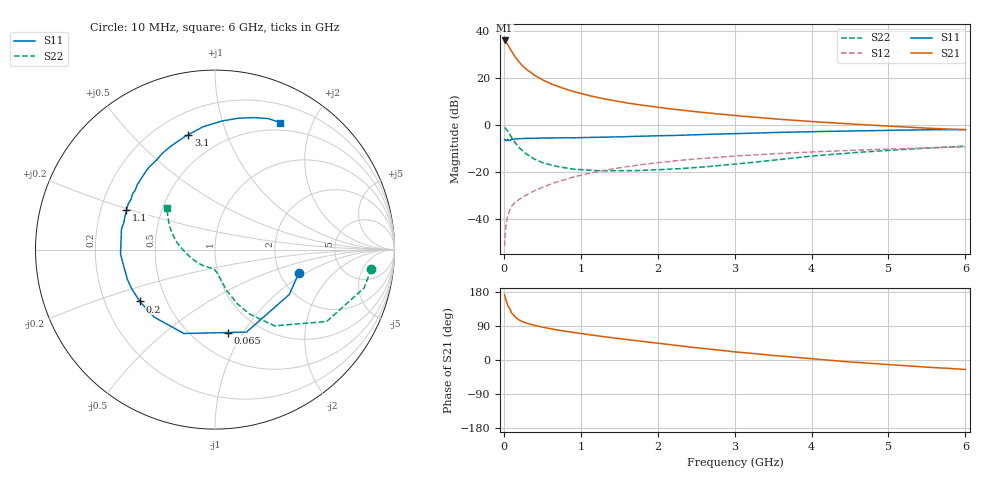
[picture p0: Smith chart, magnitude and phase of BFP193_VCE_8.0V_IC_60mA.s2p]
! Infineon Technologies  Discrete & RF Semiconductors
! BFP193
! VCE = 8.0 V,  IC =  60 mA
! Common Emitter S-Parameters:  Jan 2016
# GHz  S  MA  R  50
!  f  S11  S21  S12  S22
! GHz  MAG  ANG  MAG  ANG  MAG  ANG  MAG  ANG
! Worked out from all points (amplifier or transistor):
!   210 points, 10 MHz to 6 GHz, reference 50 ohm
!   highest |S21| = 36.0 dB at 10 MHz (marker M1)
!   |S21| within 3 dB of that: start of sweep to 71.61 MHz
!   unconditionally stable (mu >= 1): 557.9 MHz to 4.172 GHz
!   at 185 MHz: K = 0.68, MSG = 29.8 dB, |S12| = -32.1 dB
!   at 1.52 GHz: K = 1.07, MAG = 12.4 dB, |S12| = -18.2 dB
!   at 6 GHz: K = 0.94, MSG = 3.6 dB, |S12| = -9.3 dB
!   S11 on the Smith chart (normalised r, x): 10 MHz: 2.53, -0.88; 65 MHz: 0.73, -0.86; 200 MHz: 0.35, -0.28; 1.1 GHz: 0.31, +0.19; 3.1 GHz: 0.33, +0.74; 6 GHz: 0.41, +1.56
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0.01  0.4848 -15.9  63.06 171.8  0.0026 76.6  0.8776 -7.1
0.02  0.4837 -31.1  60.28 163.2  0.0054 73.6  0.8578 -14.4
0.05  0.4919 -69.1  51.51 144.4  0.0116 66.1  0.7401 -32.8
0.065  0.4674 -81.3  46.66 139.7  0.0136 62.3  0.6729 -37.3
0.1  0.4985 -110.3  37.1 124.3  0.0184 56.7  0.5391 -52.0
0.15  0.5059 -131.8  27.54 112.5  0.0224 54.1  0.4076 -61.7
0.2  0.509 -145.4  21.72 105.4  0.0258 55.5  0.3268 -67.6
0.26  0.513 -156.0  17.13 99.6  0.0299 57.0  0.2629 -71.9
0.3  0.5157 -161.1  14.97 96.5  0.0326 58.3  0.2355 -74.1
0.4  0.5185 -171.2  11.42 91.2  0.0397 61.1  0.1858 -77.5
0.5  0.5269 -177.4  9.17 86.7  0.0464 62.3  0.1574 -80.3
0.6  0.5253 177.0  7.676 82.7  0.054 63.0  0.1405 -82.6
0.7  0.5276 172.0  6.623 79.0  0.0613 63.6  0.1289 -85.1
0.86  0.5311 165.3  5.415 74.1  0.0741 63.1  0.1168 -89.0
1.02  0.5356 158.8  4.577 69.4  0.0857 62.4  0.1105 -93.0
1.1  0.5403 155.9  4.25 67.1  0.092 61.9  0.1085 -95.4
1.6  0.564 140.3  2.935 53.9  0.1287 56.7  0.1059 -111.3
2.02  0.5886 128.3  2.348 43.9  0.1576 51.4  0.1109 -126.8
3.1  0.6573 103.0  1.535 19.8  0.2215 37.5  0.151 -167.5
4.1  0.7216 85.5  1.151 1.6  0.2695 25.5  0.2232 167.2
5.1  0.7698 72.6  0.925 -13.4  0.3085 14.6  0.2935 150.8
6  0.7955 62.8  0.788 -24.9  0.3411 5.2  0.3521 139.1
